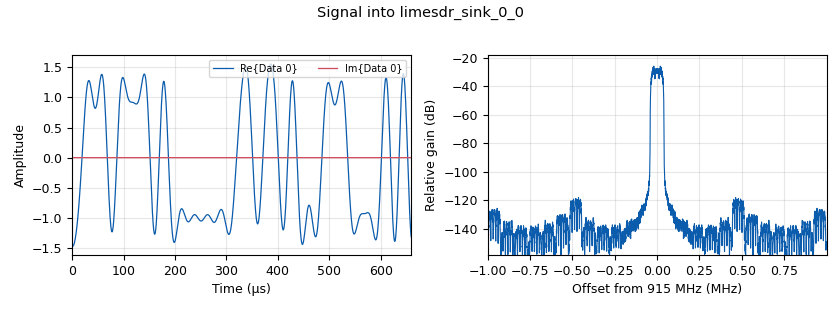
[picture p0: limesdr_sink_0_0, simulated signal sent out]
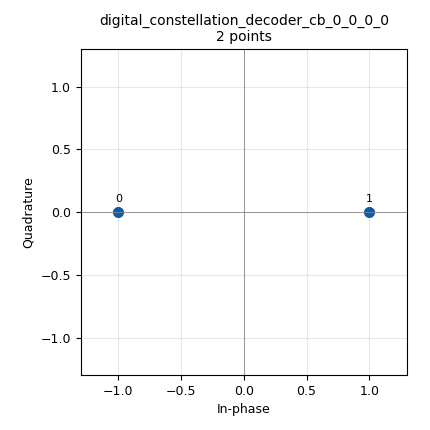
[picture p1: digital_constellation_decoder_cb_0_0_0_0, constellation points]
options:
  parameters:
    category: Custom
    generate_options: qt_gui
    id: bpsk_timing
    output_language: python
  states: {}

blocks:
- name: baseband
  id: variable_qtgui_entry
  parameters:
    label: RX Baseband [MHz]
    type: real
    value: '915'
  states: {}
- name: const
  id: variable
  parameters:
    value: digital.bpsk_constellation()
  states: {}
- name: constellation
  id: variable_constellation
  parameters:
    precision: '8'
    type: bpsk
  states: {}
- name: delay
  id: variable_qtgui_entry
  parameters:
    type: int
    value: '0'
  states: {}
- name: freq_offset
  id: variable_qtgui_range
  parameters:
    gui_hint: 4,2,1,1
    label: Frequency Offset
    orient: Qt.Horizontal
    start: '-.5'
    step: '.01'
    stop: '.5'
    value: '0'
  states: {}
- name: gain
  id: variable_qtgui_range
  parameters:
    label: Gain [dB]
    min_len: '70'
    orient: Qt.Horizontal
    rangeType: int
    start: '0'
    step: '1'
    stop: '60'
    value: '30'
  states: {}
- name: interpratio
  id: variable_qtgui_range
  parameters:
    gui_hint: 2,2,1,1
    label: Timing Offset
    orient: Qt.Horizontal
    start: '.99'
    step: '0.0001'
    stop: '1.01'
    value: '1'
  states: {}
- name: nfilts
  id: variable
  parameters:
    value: '32'
  states: {}
- name: noise_amp
  id: variable_qtgui_range
  parameters:
    gui_hint: 3,2,1,1
    label: Channel Noise
    orient: Qt.Horizontal
    start: '0'
    step: '.001'
    stop: '1'
    value: '0'
  states: {}
- name: rolloff
  id: variable
  parameters:
    value: '.35'
  states: {}
- name: samp_rate
  id: variable
  parameters:
    value: 2e6
  states: {}
- name: sig_amp
  id: variable
  parameters:
    value: '1'
  states: {}
- name: spb
  id: variable
  parameters:
    value: '4.2563'
  states: {}
- name: time_bw
  id: variable_qtgui_range
  parameters:
    gui_hint: 1,2,1,1
    label: Timing Loop BW
    orient: Qt.Horizontal
    start: '0'
    step: '.001'
    stop: '.1'
    value: '0'
  states: {}
- name: analog_random_source_x_0
  id: analog_random_source_x
  parameters:
    max: '256'
    min: '0'
    num_samps: '10000'
    repeat: 'True'
    type: byte
  states: {}
- name: blocks_char_to_float_0
  id: blocks_char_to_float
  parameters:
    scale: '1'
  states: {}
- name: blocks_char_to_float_0_0
  id: blocks_char_to_float
  parameters:
    scale: '1'
  states: {}
- name: blocks_delay_1
  id: blocks_delay
  parameters:
    delay: '0'
    type: complex
  states: {}
- name: blocks_throttle_0
  id: blocks_throttle
  parameters:
    samples_per_second: samp_rate
    type: complex
  states: {}
- name: blocks_throttle_0_0
  id: blocks_throttle
  parameters:
    samples_per_second: samp_rate
    type: complex
  states: {}
- name: digital_cma_equalizer_cc_0
  id: digital_cma_equalizer_cc
  parameters:
    modulus: '1'
    mu: '1'
    num_taps: '15'
    sps: '4'
  states: {}
- name: digital_cma_equalizer_cc_0_0
  id: digital_cma_equalizer_cc
  parameters:
    modulus: '1'
    mu: '1'
    num_taps: '15'
    sps: '4'
  states: {}
- name: digital_constellation_decoder_cb_0_0_0_0
  id: digital_constellation_decoder_cb
  parameters:
    constellation: constellation
  states: {}
- name: digital_constellation_decoder_cb_0_0_0_0_0
  id: digital_constellation_decoder_cb
  parameters:
    constellation: constellation
  states: {}
- name: digital_constellation_modulator_1
  id: digital_constellation_modulator
  parameters:
    constellation: constellation
    differential: 'False'
    excess_bw: '0.35'
    samples_per_symbol: int(2*25/6)
  states: {}
- name: digital_costas_loop_cc_0
  id: digital_costas_loop_cc
  parameters:
    order: '4'
    w: time_bw
  states: {}
- name: digital_costas_loop_cc_0_0
  id: digital_costas_loop_cc
  parameters:
    order: '4'
    w: time_bw
  states: {}
- name: digital_symbol_sync_xx_0
  id: digital_symbol_sync_xx
  parameters:
    damping: '1.0'
    loop_bw: '0.045'
    max_dev: '1.5'
    osps: '1'
    resamp_type: digital.IR_MMSE_8TAP
    sps: '8'
    ted_gain: '1.0'
    ted_type: digital.TED_MUELLER_AND_MULLER
    type: cc
  states: {}
- name: fec_ber_bf_0
  id: fec_ber_bf
  parameters:
    test_mode: 'False'
  states: {}
- name: fec_ber_bf_0_1
  id: fec_ber_bf
  parameters:
    test_mode: 'False'
  states: {}
- name: fec_ber_bf_0_1_0
  id: fec_ber_bf
  parameters:
    test_mode: 'False'
  states: {}
- name: import_0
  id: import
  parameters:
    imports: from gnuradio import digital
  states: {}
- name: limesdr_sink_0_0
  id: limesdr_sink
  parameters:
    allow_tcxo_dac: '0'
    channel_mode: '0'
    comment: LimeSDR Mini here!
    gain_dB_ch0: gain
    oversample: '0'
    rf_freq: baseband*1e6
    samp_rate: samp_rate
    serial: 1D423F7CD55972
  states: {}
- name: limesdr_source_0
  id: limesdr_source
  parameters:
    allow_tcxo_dac: '0'
    analog_bandw_ch0: 2e6
    analog_bandw_ch1: 2e6
    channel_mode: '2'
    comment: |-
      1: Vertical
      2: Horizontal
    digital_bandw_ch0: 1.8e6
    digital_bandw_ch1: 1.8e6
    gain_dB_ch0: gain
    gain_dB_ch1: gain
    lna_path_ch0: '3'
    lna_path_ch1: '3'
    oversample: '0'
    rf_freq: baseband*1e6
    samp_rate: 2e6
    serial: 0009070105C62E09
  states: {}
- name: qtgui_number_sink_0_0_1_0
  id: qtgui_number_sink
  parameters:
    autoscale: 'True'
    color1: ("blue", "red")
    color2: ("blue", "red")
    color3: ("blue", "red")
    graph_type: qtgui.NUM_GRAPH_HORIZ
    label1: BER
    min: '0'
    name: '"Synchronized"'
    nconnections: '3'
    type: float
    unit3: Consolidated
    update_time: '0.1'
  states: {}
- name: qtgui_time_sink_x_0_0
  id: qtgui_time_sink_x
  parameters:
    autoscale: 'True'
    ctrlpanel: 'True'
    grid: 'True'
    gui_hint: 30,0,15,2
    label1: ''
    label2: ''
    label3: ''
    label4: ''
    name: Scope Plot
    nconnections: '2'
    size: '1024'
    srate: samp_rate
    type: complex
  states: {}
- name: qtgui_time_sink_x_2
  id: qtgui_time_sink_x
  parameters:
    ctrlpanel: 'True'
    grid: 'True'
    nconnections: '2'
    size: '1024'
    srate: samp_rate
    tr_mode: qtgui.TRIG_MODE_NORM
    type: float
    ymax: '3'
  states: {}
- name: rational_resampler_xxx_0
  id: rational_resampler_xxx
  parameters:
    decim: '6'
    interp: '25'
    taps: ''
    type: ccc
  states: {}

connections:
- [analog_random_source_x_0, '0', digital_constellation_modulator_1, '0']
- [analog_random_source_x_0, '0', fec_ber_bf_0, '0']
- [analog_random_source_x_0, '0', fec_ber_bf_0_1, '0']
- [blocks_char_to_float_0, '0', qtgui_time_sink_x_2, '0']
- [blocks_char_to_float_0_0, '0', qtgui_time_sink_x_2, '1']
- [blocks_delay_1, '0', digital_symbol_sync_xx_0, '0']
- [blocks_throttle_0, '0', blocks_delay_1, '0']
- [blocks_throttle_0_0, '0', digital_costas_loop_cc_0_0, '0']
- [digital_cma_equalizer_cc_0, '0', blocks_throttle_0, '0']
- [digital_cma_equalizer_cc_0_0, '0', blocks_throttle_0_0, '0']
- [digital_constellation_decoder_cb_0_0_0_0, '0', blocks_char_to_float_0, '0']
- [digital_constellation_decoder_cb_0_0_0_0, '0', fec_ber_bf_0, '1']
- [digital_constellation_decoder_cb_0_0_0_0, '0', fec_ber_bf_0_1_0, '0']
- [digital_constellation_decoder_cb_0_0_0_0_0, '0', blocks_char_to_float_0_0, '0']
- [digital_constellation_decoder_cb_0_0_0_0_0, '0', fec_ber_bf_0_1, '1']
- [digital_constellation_decoder_cb_0_0_0_0_0, '0', fec_ber_bf_0_1_0, '1']
- [digital_constellation_modulator_1, '0', rational_resampler_xxx_0, '0']
- [digital_costas_loop_cc_0, '0', digital_constellation_decoder_cb_0_0_0_0, '0']
- [digital_costas_loop_cc_0, '0', qtgui_time_sink_x_0_0, '0']
- [digital_costas_loop_cc_0_0, '0', digital_constellation_decoder_cb_0_0_0_0_0, '0']
- [digital_costas_loop_cc_0_0, '0', qtgui_time_sink_x_0_0, '1']
- [digital_symbol_sync_xx_0, '0', digital_costas_loop_cc_0, '0']
- [fec_ber_bf_0, '0', qtgui_number_sink_0_0_1_0, '0']
- [fec_ber_bf_0_1, '0', qtgui_number_sink_0_0_1_0, '1']
- [fec_ber_bf_0_1_0, '0', qtgui_number_sink_0_0_1_0, '2']
- [limesdr_source_0, '0', digital_cma_equalizer_cc_0, '0']
- [limesdr_source_0, '1', digital_cma_equalizer_cc_0_0, '0']
- [rational_resampler_xxx_0, '0', limesdr_sink_0_0, '0']

metadata:
  file_format: 1
